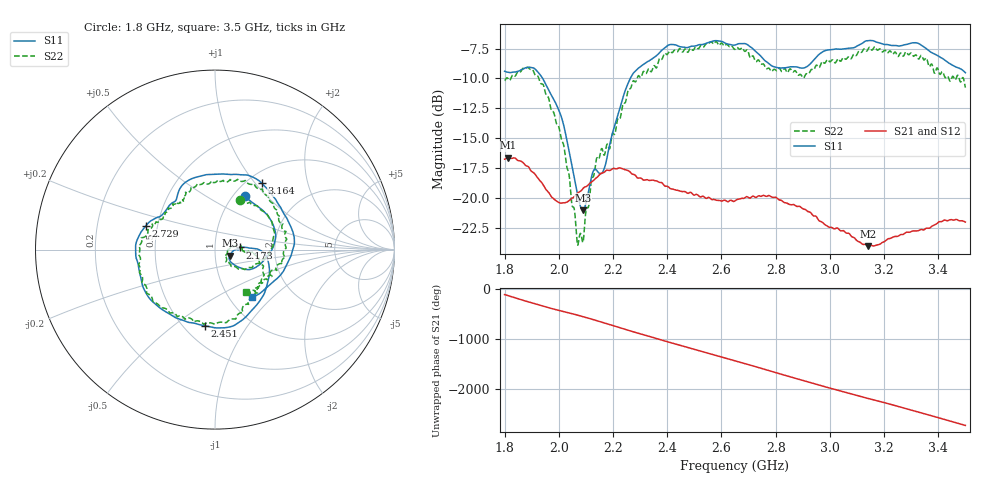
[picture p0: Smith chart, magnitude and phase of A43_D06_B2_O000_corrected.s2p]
! Created with skrf 1.9.0 (http://scikit-rf.org).
# Hz S RI R 50.0
!freq ReS11 ImS11 ReS21 ImS21 ReS12 ImS12 ReS22 ImS22
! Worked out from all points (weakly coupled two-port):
!   1601 points, 1.8 GHz to 3.5 GHz, reference 50 ohm
!   highest |S21| = -16.65 dB at 1.812 GHz (marker M1); lowest = -24.1 dB at 3.142 GHz (marker M2)
!   lowest |S11| = -21.1 dB at 2.089 GHz (marker M3), VSWR 1.19, Z = 58.7 - j4.05 ohm
!   |S11| at or under -10 dB: 1.941 GHz to 2.264 GHz (323.1 MHz wide, 15.4 % of centre)
!   |S22| runs from -24.0 to -6.9 dB; largest |S21 - S12| = 0.0024
!   S11 on the Smith chart (normalised r, x): 1.8 GHz: 1.13, +0.75; 2.173 GHz: 1.32, +0.03; 2.451 GHz: 0.63, -0.66; 2.729 GHz: 0.43, +0.14; 3.164 GHz: 1.16, +1.08; 3.5 GHz: 1.28, -0.75
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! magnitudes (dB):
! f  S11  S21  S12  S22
! 1.8 GHz  -9.4  -16.8  -16.8  -10.2
! 1.812 GHz  -9.5  -16.6  -16.7  -10.0
! 1.884 GHz  -9.1  -17.3  -17.4  -9.1
! 1.943 GHz  -10.1  -18.9  -18.9  -10.6
! 2.011 GHz  -13.4  -20.4  -20.4  -15.2
! 2.068 GHz  -19.6  -19.6  -19.7  -23.8
! 2.084 GHz  -20.9  -19.4  -19.3  -23.3
! 2.089 GHz  -21.1  -19.2  -19.3  -23.7
! 2.136 GHz  -17.6  -18.4  -18.4  -17.1
! 2.173 GHz  -17.2  -17.7  -17.8  -16.0
! 2.261 GHz  -10.1  -17.8  -17.8  -10.9
! 2.367 GHz  -7.9  -18.7  -18.6  -8.6
! 2.451 GHz  -7.4  -19.5  -19.5  -7.7
! 2.65 GHz  -7.2  -20.3  -20.2  -7.6
! 2.729 GHz  -7.8  -20.0  -20.0  -8.6
! 2.808 GHz  -9.1  -20.1  -20.0  -9.2
! 2.934 GHz  -8.6  -21.4  -21.4  -9.2
! 3.142 GHz  -6.8  -24.1  -23.9  -7.5
! 3.164 GHz  -6.9  -24.0  -24.0  -7.4
! 3.217 GHz  -7.2  -23.4  -23.4  -7.8
! 3.324 GHz  -7.0  -22.8  -22.7  -8.3
! 3.5 GHz  -9.5  -22.0  -22.0  -10.8
